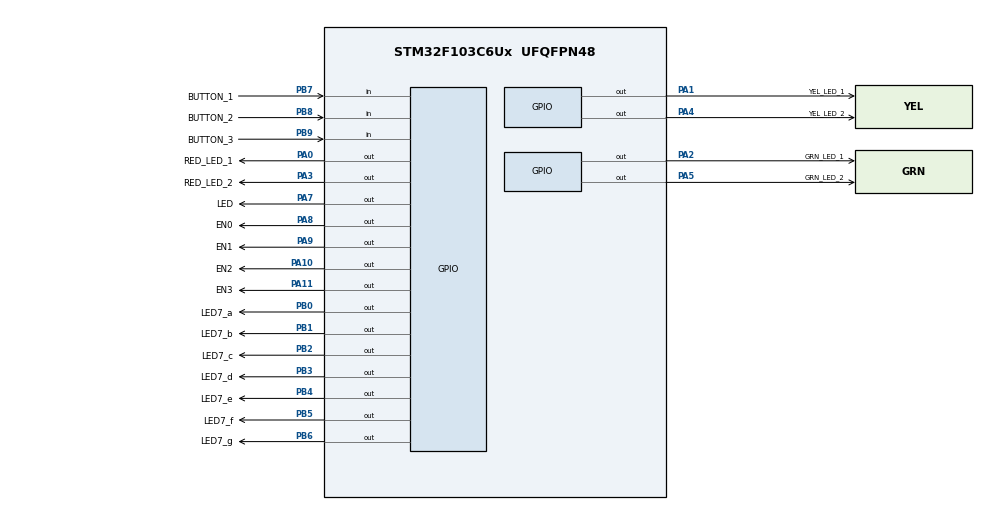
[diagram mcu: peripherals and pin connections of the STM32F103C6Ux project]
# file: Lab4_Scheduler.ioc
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Mcu.Family=STM32F1
Mcu.Name=STM32F103C6Ux
Mcu.Package=UFQFPN48
NVIC.PriorityGroup=NVIC_PRIORITYGROUP_4
NVIC.TIM2_IRQn=true\:0\:0\:false\:false\:true\:true\:true\:true
PA0-WKUP.GPIO_Label=RED_LED_1
PA0-WKUP.Signal=GPIO_Output
PA1.GPIO_Label=YEL_LED_1
PA1.Signal=GPIO_Output
PA10.GPIO_Label=EN2
PA10.Signal=GPIO_Output
PA11.GPIO_Label=EN3
PA11.Signal=GPIO_Output
PA2.GPIO_Label=GRN_LED_1
PA2.Signal=GPIO_Output
PA3.GPIO_Label=RED_LED_2
PA3.Signal=GPIO_Output
PA4.GPIO_Label=YEL_LED_2
PA4.Signal=GPIO_Output
PA5.GPIO_Label=GRN_LED_2
PA5.Signal=GPIO_Output
PA7.GPIO_Label=LED
PA7.Signal=GPIO_Output
PA8.GPIO_Label=EN0
PA8.Signal=GPIO_Output
PA9.GPIO_Label=EN1
PA9.Signal=GPIO_Output
PB0.GPIO_Label=LED7_a
PB0.Signal=GPIO_Output
PB1.GPIO_Label=LED7_b
PB1.Signal=GPIO_Output
PB2.GPIO_Label=LED7_c
PB2.Signal=GPIO_Output
PB3.GPIO_Label=LED7_d
PB3.Signal=GPIO_Output
PB4.GPIO_Label=LED7_e
PB4.Signal=GPIO_Output
PB5.GPIO_Label=LED7_f
PB5.Signal=GPIO_Output
PB6.GPIO_Label=LED7_g
PB6.Signal=GPIO_Output
PB7.GPIO_Label=BUTTON_1
PB7.GPIO_PuPd=GPIO_PULLUP
PB7.Signal=GPIO_Input
PB8.GPIO_Label=BUTTON_2
PB8.GPIO_PuPd=GPIO_PULLUP
PB8.Signal=GPIO_Input
PB9.GPIO_Label=BUTTON_3
PB9.GPIO_PuPd=GPIO_PULLUP
PB9.Signal=GPIO_Input
ProjectManager.HeapSize=0x200
ProjectManager.StackSize=0x400
ProjectManager.TargetToolchain=STM32CubeIDE
RCC.APB1Freq_Value=8000000
RCC.APB2Freq_Value=8000000
TIM2.Period=9
TIM2.Prescaler=7999
VP_SYS_VS_ND.Mode=No_Debug
VP_TIM2_VS_ClockSourceINT.Mode=Internal
board=custom

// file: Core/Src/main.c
/* USER CODE BEGIN Header */
/**
  ******************************************************************************
  * @file           : main.c
  * @brief          : Main program body
  ******************************************************************************
  * @attention
  *
  * Copyright (c) 2025 STMicroelectronics.
  * All rights reserved.
  *
  * This software is licensed under terms that can be found in the LICENSE file
  * in the root directory of this software component.
  * If no LICENSE file comes with this software, it is provided AS-IS.
  *
  ******************************************************************************
  */
/* USER CODE END Header */
#include "main.h"

/* USER CODE BEGIN Includes */
//#include "software_timer.h"
//#include "button.h"
#include "global.h"
#include "fsm_automatic.h"
#include "fsm_manual.h"
#include "fsm_config.h"
#include "scheduler.h"
/* USER CODE END Includes */

TIM_HandleTypeDef htim2;

void SystemClock_Config(void);
static void MX_GPIO_Init(void);
static void MX_TIM2_Init(void);
/* USER CODE BEGIN PFP */
void init_system(void);
void LED_Toggle_Test(void);
/* USER CODE END PFP */

int main(void)
{

  /* MCU Configuration--------------------------------------------------------*/

  /* Reset of all peripherals, Initializes the Flash interface and the Systick. */
  HAL_Init();

  /* Configure the system clock */
  SystemClock_Config();

  /* Initialize all configured peripherals */
  MX_GPIO_Init();
  MX_TIM2_Init();
  /* USER CODE BEGIN 2 */
  init_system();
  /* USER CODE END 2 */

  /* Infinite loop */
  /* USER CODE BEGIN WHILE */
  SCH_Add_Task(timerRun, 0, 1);
  SCH_Add_Task(getKeyInput, 0, 1);
  SCH_Add_Task(LED_Toggle_Test, 0, 500);

  SCH_Add_Task(FSM_Automatic_Run, 500, 1);
  SCH_Add_Task(FSM_Manual_Run, 1000, 1);
  SCH_Add_Task(FSM_Config_Run, 3000, 1);
  while (1)
  {
    /* USER CODE END WHILE */

    /* USER CODE BEGIN 3 */
	  SCH_Dispatch_Tasks();
  }
  /* USER CODE END 3 */
}

void SystemClock_Config(void)
{
  RCC_OscInitTypeDef RCC_OscInitStruct = {0};
  RCC_ClkInitTypeDef RCC_ClkInitStruct = {0};

  /** Initializes the RCC Oscillators according to the specified parameters
  * in the RCC_OscInitTypeDef structure.
  */
  RCC_OscInitStruct.OscillatorType = RCC_OSCILLATORTYPE_HSI;
  RCC_OscInitStruct.HSIState = RCC_HSI_ON;
  RCC_OscInitStruct.HSICalibrationValue = RCC_HSICALIBRATION_DEFAULT;
  RCC_OscInitStruct.PLL.PLLState = RCC_PLL_NONE;
  if (HAL_RCC_OscConfig(&RCC_OscInitStruct) != HAL_OK)
  {
    Error_Handler();
  }

  /** Initializes the CPU, AHB and APB buses clocks
  */
  RCC_ClkInitStruct.ClockType = RCC_CLOCKTYPE_HCLK|RCC_CLOCKTYPE_SYSCLK
                              |RCC_CLOCKTYPE_PCLK1|RCC_CLOCKTYPE_PCLK2;
  RCC_ClkInitStruct.SYSCLKSource = RCC_SYSCLKSOURCE_HSI;
  RCC_ClkInitStruct.AHBCLKDivider = RCC_SYSCLK_DIV1;
  RCC_ClkInitStruct.APB1CLKDivider = RCC_HCLK_DIV1;
  RCC_ClkInitStruct.APB2CLKDivider = RCC_HCLK_DIV1;

  if (HAL_RCC_ClockConfig(&RCC_ClkInitStruct, FLASH_LATENCY_0) != HAL_OK)
  {
    Error_Handler();
  }
}

static void MX_TIM2_Init(void)
{

  TIM_ClockConfigTypeDef sClockSourceConfig = {0};
  TIM_MasterConfigTypeDef sMasterConfig = {0};

  htim2.Instance = TIM2;
  htim2.Init.Prescaler = 7999;
  htim2.Init.CounterMode = TIM_COUNTERMODE_UP;
  htim2.Init.Period = 9;
  htim2.Init.ClockDivision = TIM_CLOCKDIVISION_DIV1;
  htim2.Init.AutoReloadPreload = TIM_AUTORELOAD_PRELOAD_DISABLE;
  if (HAL_TIM_Base_Init(&htim2) != HAL_OK)
  {
    Error_Handler();
  }
  sClockSourceConfig.ClockSource = TIM_CLOCKSOURCE_INTERNAL;
  if (HAL_TIM_ConfigClockSource(&htim2, &sClockSourceConfig) != HAL_OK)
  {
    Error_Handler();
  }
  sMasterConfig.MasterOutputTrigger = TIM_TRGO_RESET;
  sMasterConfig.MasterSlaveMode = TIM_MASTERSLAVEMODE_DISABLE;
  if (HAL_TIMEx_MasterConfigSynchronization(&htim2, &sMasterConfig) != HAL_OK)
  {
    Error_Handler();
  }

}

static void MX_GPIO_Init(void)
{
  GPIO_InitTypeDef GPIO_InitStruct = {0};

  /* GPIO Ports Clock Enable */
  __HAL_RCC_GPIOA_CLK_ENABLE();
  __HAL_RCC_GPIOB_CLK_ENABLE();

  /*Configure GPIO pin Output Level */
  HAL_GPIO_WritePin(GPIOA, RED_LED_1_Pin|YEL_LED_1_Pin|GRN_LED_1_Pin|RED_LED_2_Pin
                          |YEL_LED_2_Pin|GRN_LED_2_Pin|LED_Pin|EN0_Pin
                          |EN1_Pin|EN2_Pin|EN3_Pin, GPIO_PIN_RESET);

  /*Configure GPIO pin Output Level */
  HAL_GPIO_WritePin(GPIOB, LED7_a_Pin|LED7_b_Pin|LED7_c_Pin|LED7_d_Pin
                          |LED7_e_Pin|LED7_f_Pin|LED7_g_Pin, GPIO_PIN_RESET);

  /*Configure GPIO pins : RED_LED_1_Pin YEL_LED_1_Pin GRN_LED_1_Pin RED_LED_2_Pin
                           YEL_LED_2_Pin GRN_LED_2_Pin LED_Pin EN0_Pin
                           EN1_Pin EN2_Pin EN3_Pin */
  GPIO_InitStruct.Pin = RED_LED_1_Pin|YEL_LED_1_Pin|GRN_LED_1_Pin|RED_LED_2_Pin
                          |YEL_LED_2_Pin|GRN_LED_2_Pin|LED_Pin|EN0_Pin
                          |EN1_Pin|EN2_Pin|EN3_Pin;
  GPIO_InitStruct.Mode = GPIO_MODE_OUTPUT_PP;
  GPIO_InitStruct.Pull = GPIO_NOPULL;
  GPIO_InitStruct.Speed = GPIO_SPEED_FREQ_LOW;
  HAL_GPIO_Init(GPIOA, &GPIO_InitStruct);

  /*Configure GPIO pins : LED7_a_Pin LED7_b_Pin LED7_c_Pin LED7_d_Pin
                           LED7_e_Pin LED7_f_Pin LED7_g_Pin */
  GPIO_InitStruct.Pin = LED7_a_Pin|LED7_b_Pin|LED7_c_Pin|LED7_d_Pin
                          |LED7_e_Pin|LED7_f_Pin|LED7_g_Pin;
  GPIO_InitStruct.Mode = GPIO_MODE_OUTPUT_PP;
  GPIO_InitStruct.Pull = GPIO_NOPULL;
  GPIO_InitStruct.Speed = GPIO_SPEED_FREQ_LOW;
  HAL_GPIO_Init(GPIOB, &GPIO_InitStruct);

  /*Configure GPIO pins : BUTTON_1_Pin BUTTON_2_Pin BUTTON_3_Pin */
  GPIO_InitStruct.Pin = BUTTON_1_Pin|BUTTON_2_Pin|BUTTON_3_Pin;
  GPIO_InitStruct.Mode = GPIO_MODE_INPUT;
  GPIO_InitStruct.Pull = GPIO_PULLUP;
  HAL_GPIO_Init(GPIOB, &GPIO_InitStruct);

}

/* USER CODE BEGIN 4 */
void init_system(void) {
	HAL_TIM_Base_Start_IT(&htim2);
	clear7SEG();
	HAL_GPIO_WritePin(GPIOA, GPIO_PIN_All, SET);
	status = INIT_AUTO;
	setTimer(3, 500);
	setTimer(4, 1000);
	setTimer(5, 1000);
	SCH_Init();
}

void LED_Toggle_Test(void) {
	HAL_GPIO_TogglePin(LED_GPIO_Port, LED_Pin);
}

void HAL_TIM_PeriodElapsedCallback(TIM_HandleTypeDef *htim) {
	SCH_Update();
}
/* USER CODE END 4 */

void Error_Handler(void)
{
  __disable_irq();
  while (1)
  {
  }
}
